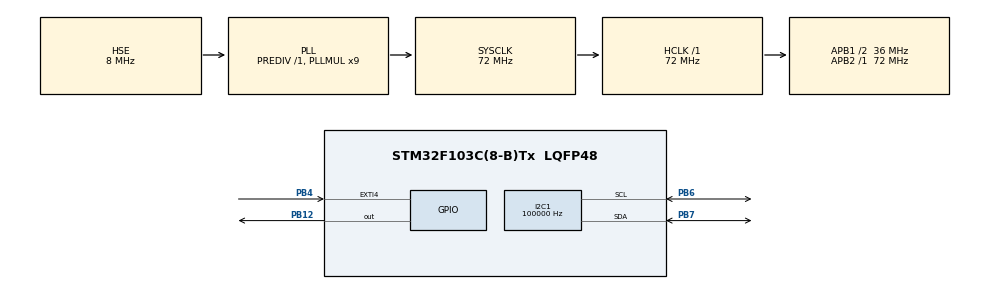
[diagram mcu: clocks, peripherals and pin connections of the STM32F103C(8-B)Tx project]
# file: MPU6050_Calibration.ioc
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Dma.I2C1_RX.0.Direction=DMA_PERIPH_TO_MEMORY
Dma.I2C1_RX.0.Instance=DMA1_Channel7
Dma.I2C1_RX.0.MemDataAlignment=DMA_MDATAALIGN_BYTE
Dma.I2C1_RX.0.MemInc=DMA_MINC_ENABLE
Dma.I2C1_RX.0.Mode=DMA_NORMAL
Dma.I2C1_RX.0.PeriphDataAlignment=DMA_PDATAALIGN_BYTE
Dma.I2C1_RX.0.PeriphInc=DMA_PINC_DISABLE
Dma.I2C1_RX.0.Priority=DMA_PRIORITY_LOW
Dma.I2C1_TX.1.Direction=DMA_MEMORY_TO_PERIPH
Dma.I2C1_TX.1.Instance=DMA1_Channel6
Dma.I2C1_TX.1.MemDataAlignment=DMA_MDATAALIGN_BYTE
Dma.I2C1_TX.1.MemInc=DMA_MINC_ENABLE
Dma.I2C1_TX.1.Mode=DMA_NORMAL
Dma.I2C1_TX.1.PeriphDataAlignment=DMA_PDATAALIGN_BYTE
Dma.I2C1_TX.1.PeriphInc=DMA_PINC_DISABLE
Dma.I2C1_TX.1.Priority=DMA_PRIORITY_LOW
Dma.Request0=I2C1_RX
Dma.Request1=I2C1_TX
I2C1.ClockSpeed=100000
I2C1.I2C_Mode=I2C_Standard
Mcu.Family=STM32F1
Mcu.Name=STM32F103C(8-B)Tx
Mcu.Package=LQFP48
NVIC.DMA1_Channel6_IRQn=true\:0\:0\:false\:false\:true\:false\:true\:true
NVIC.DMA1_Channel7_IRQn=true\:0\:0\:false\:false\:true\:false\:true\:true
NVIC.EXTI4_IRQn=true\:0\:0\:false\:false\:true\:true\:true\:true
NVIC.I2C1_ER_IRQn=true\:0\:0\:false\:false\:true\:true\:true\:true
NVIC.I2C1_EV_IRQn=true\:0\:0\:false\:false\:true\:true\:true\:true
NVIC.PVD_IRQn=true\:5\:0\:true\:false\:true\:true\:true\:true
NVIC.PriorityGroup=NVIC_PRIORITYGROUP_4
NVIC.TIM4_IRQn=true\:15\:0\:false\:false\:true\:false\:true\:true
NVIC.TimeBase=TIM4_IRQn
NVIC.TimeBaseIP=TIM4
PA13.Mode=Serial_Wire
PA13.Signal=SYS_JTMS-SWDIO
PA14.Mode=Serial_Wire
PA14.Signal=SYS_JTCK-SWCLK
PB12.GPIO_Speed=GPIO_SPEED_FREQ_HIGH
PB12.Signal=GPIO_Output
PB4.Signal=GPXTI4
PB6.Mode=I2C
PB6.Signal=I2C1_SCL
PB7.Mode=I2C
PB7.Signal=I2C1_SDA
PD0-OSC_IN.Mode=HSE-External-Oscillator
PD0-OSC_IN.Signal=RCC_OSC_IN
PD1-OSC_OUT.Mode=HSE-External-Oscillator
PD1-OSC_OUT.Signal=RCC_OSC_OUT
ProjectManager.HeapSize=0x200
ProjectManager.StackSize=0x400
ProjectManager.TargetToolchain=STM32CubeIDE
RCC.AHBFreq_Value=72000000
RCC.APB1CLKDivider=RCC_HCLK_DIV2
RCC.APB1Freq_Value=36000000
RCC.APB1TimFreq_Value=72000000
RCC.APB2Freq_Value=72000000
RCC.APB2TimFreq_Value=72000000
RCC.HCLKFreq_Value=72000000
RCC.PLLMUL=RCC_PLL_MUL9
RCC.PLLSourceVirtual=RCC_PLLSOURCE_HSE
RCC.SYSCLKFreq_VALUE=72000000
RCC.SYSCLKSource=RCC_SYSCLKSOURCE_PLLCLK
RCC.USBFreq_Value=72000000
VP_SYS_VS_tim4.Mode=TIM4
board=custom

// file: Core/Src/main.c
/* USER CODE BEGIN Header */
/**
  ******************************************************************************
  * @file           : main.c
  * @brief          : Main program body
  ******************************************************************************
  * @attention
  *
  * Copyright (c) 2024 STMicroelectronics.
  * All rights reserved.
  *
  * This software is licensed under terms that can be found in the LICENSE file
  * in the root directory of this software component.
  * If no LICENSE file comes with this software, it is provided AS-IS.
  *
  ******************************************************************************
  */
/* USER CODE END Header */
#include "main.h"

/* USER CODE BEGIN Includes */
#include "mpu6050.h"
/* USER CODE END Includes */

I2C_HandleTypeDef hi2c1;
DMA_HandleTypeDef hdma_i2c1_rx;
DMA_HandleTypeDef hdma_i2c1_tx;

/* USER CODE BEGIN PV */
uint8_t accel_data[6];  // Buffer to hold acceleration data
float accel_x_m_s2, accel_y_m_s2, accel_z_m_s2;
/* USER CODE END PV */

void SystemClock_Config(void);
static void MX_GPIO_Init(void);
static void MX_DMA_Init(void);
static void MX_I2C1_Init(void);
/* USER CODE BEGIN PFP */
void MPU6050_Init(void);
/* USER CODE END PFP */

int main(void)
{

  /* MCU Configuration--------------------------------------------------------*/

  /* Reset of all peripherals, Initializes the Flash interface and the Systick. */
  HAL_Init();

  /* Configure the system clock */
  SystemClock_Config();

  /* Initialize all configured peripherals */
  MX_GPIO_Init();
  MX_DMA_Init();
  MX_I2C1_Init();
  /* USER CODE BEGIN 2 */
  MPU6050_Init();
  /* USER CODE END 2 */

  /* Infinite loop */
  while (1)
  {

    /* USER CODE BEGIN 3 */
	  HAL_GPIO_TogglePin(GPIOB, GPIO_PIN_12);
	  HAL_Delay(1);
  }
  /* USER CODE END 3 */
}

void SystemClock_Config(void)
{
  RCC_OscInitTypeDef RCC_OscInitStruct = {0};
  RCC_ClkInitTypeDef RCC_ClkInitStruct = {0};

  /** Initializes the RCC Oscillators according to the specified parameters
  * in the RCC_OscInitTypeDef structure.
  */
  RCC_OscInitStruct.OscillatorType = RCC_OSCILLATORTYPE_HSE;
  RCC_OscInitStruct.HSEState = RCC_HSE_ON;
  RCC_OscInitStruct.HSEPredivValue = RCC_HSE_PREDIV_DIV1;
  RCC_OscInitStruct.HSIState = RCC_HSI_ON;
  RCC_OscInitStruct.PLL.PLLState = RCC_PLL_ON;
  RCC_OscInitStruct.PLL.PLLSource = RCC_PLLSOURCE_HSE;
  RCC_OscInitStruct.PLL.PLLMUL = RCC_PLL_MUL9;
  if (HAL_RCC_OscConfig(&RCC_OscInitStruct) != HAL_OK)
  {
    Error_Handler();
  }

  /** Initializes the CPU, AHB and APB buses clocks
  */
  RCC_ClkInitStruct.ClockType = RCC_CLOCKTYPE_HCLK|RCC_CLOCKTYPE_SYSCLK
                              |RCC_CLOCKTYPE_PCLK1|RCC_CLOCKTYPE_PCLK2;
  RCC_ClkInitStruct.SYSCLKSource = RCC_SYSCLKSOURCE_PLLCLK;
  RCC_ClkInitStruct.AHBCLKDivider = RCC_SYSCLK_DIV1;
  RCC_ClkInitStruct.APB1CLKDivider = RCC_HCLK_DIV2;
  RCC_ClkInitStruct.APB2CLKDivider = RCC_HCLK_DIV1;

  if (HAL_RCC_ClockConfig(&RCC_ClkInitStruct, FLASH_LATENCY_2) != HAL_OK)
  {
    Error_Handler();
  }
}

static void MX_I2C1_Init(void)
{

  hi2c1.Instance = I2C1;
  hi2c1.Init.ClockSpeed = 100000;
  hi2c1.Init.DutyCycle = I2C_DUTYCYCLE_2;
  hi2c1.Init.OwnAddress1 = 0;
  hi2c1.Init.AddressingMode = I2C_ADDRESSINGMODE_7BIT;
  hi2c1.Init.DualAddressMode = I2C_DUALADDRESS_DISABLE;
  hi2c1.Init.OwnAddress2 = 0;
  hi2c1.Init.GeneralCallMode = I2C_GENERALCALL_DISABLE;
  hi2c1.Init.NoStretchMode = I2C_NOSTRETCH_DISABLE;
  if (HAL_I2C_Init(&hi2c1) != HAL_OK)
  {
    Error_Handler();
  }

}

static void MX_DMA_Init(void)
{

  /* DMA controller clock enable */
  __HAL_RCC_DMA1_CLK_ENABLE();

  /* DMA interrupt init */
  /* DMA1_Channel6_IRQn interrupt configuration */
  HAL_NVIC_SetPriority(DMA1_Channel6_IRQn, 0, 0);
  HAL_NVIC_EnableIRQ(DMA1_Channel6_IRQn);
  /* DMA1_Channel7_IRQn interrupt configuration */
  HAL_NVIC_SetPriority(DMA1_Channel7_IRQn, 0, 0);
  HAL_NVIC_EnableIRQ(DMA1_Channel7_IRQn);

}

static void MX_GPIO_Init(void)
{
  GPIO_InitTypeDef GPIO_InitStruct = {0};

  /* GPIO Ports Clock Enable */
  __HAL_RCC_GPIOD_CLK_ENABLE();
  __HAL_RCC_GPIOB_CLK_ENABLE();
  __HAL_RCC_GPIOA_CLK_ENABLE();

  /*Configure GPIO pin Output Level */
  HAL_GPIO_WritePin(GPIOB, GPIO_PIN_12, GPIO_PIN_RESET);

  /*Configure GPIO pin : PB12 */
  GPIO_InitStruct.Pin = GPIO_PIN_12;
  GPIO_InitStruct.Mode = GPIO_MODE_OUTPUT_PP;
  GPIO_InitStruct.Pull = GPIO_NOPULL;
  GPIO_InitStruct.Speed = GPIO_SPEED_FREQ_HIGH;
  HAL_GPIO_Init(GPIOB, &GPIO_InitStruct);

  /*Configure GPIO pin : PB4 */
  GPIO_InitStruct.Pin = GPIO_PIN_4;
  GPIO_InitStruct.Mode = GPIO_MODE_IT_RISING;
  GPIO_InitStruct.Pull = GPIO_NOPULL;
  HAL_GPIO_Init(GPIOB, &GPIO_InitStruct);

  /* EXTI interrupt init*/
  HAL_NVIC_SetPriority(EXTI4_IRQn, 0, 0);
  HAL_NVIC_EnableIRQ(EXTI4_IRQn);

}

/* USER CODE BEGIN 4 */
void MPU6050_Init(void)
{
	 uint8_t chipid = 0;
	 uint8_t tmp = 0x00;

	 // Check device ID WHO_AM_I
	 HAL_I2C_Mem_Read(&hi2c1, MPU6050_I2C_ADDRESS<<1, MPU6050_RA_WHO_AM_I, I2C_MEMADD_SIZE_8BIT, &chipid, 1, I2C_TIMEOUT);
	 HAL_Delay(1);
	 if (chipid == 0x68)  // 0x68 is the MPU6050 device ID
	 {
	 // Power management register 0X6B we should write all 0's to wake the sensor up
		 tmp = 0x00;
	 HAL_I2C_Mem_Write(&hi2c1,(MPU6050_I2C_ADDRESS << 1) ,MPU6050_RA_PWR_MGMT_1 , I2C_MEMADD_SIZE_8BIT, &tmp, 1, I2C_TIMEOUT);

	 // Set DATA RATE of 1KHz by writing SMPLRT_DIV register
	 tmp = 0x07;
	 HAL_I2C_Mem_Write(&hi2c1, MPU6050_I2C_ADDRESS <<1, MPU6050_RA_SMPLRT_DIV, I2C_MEMADD_SIZE_8BIT, &tmp, 1, 1000);

	 // Set accelerometer configuration in ACCEL_CONFIG Register
	 // XA_ST=0,YA_ST=0,ZA_ST=0, FS_SEL=0 -> ± 2g
	 tmp = 0x00;
	 HAL_I2C_Mem_Write(&hi2c1, MPU6050_I2C_ADDRESS<<1, MPU6050_RA_ACCEL_CONFIG, I2C_MEMADD_SIZE_8BIT, &tmp, 1, 1000);
	 HAL_Delay(1);
	 //read MPU6050_PWR_MGMT_2 register
	 HAL_I2C_Mem_Read(&hi2c1, (MPU6050_I2C_ADDRESS << 1), MPU6050_RA_PWR_MGMT_2,I2C_MEMADD_SIZE_8BIT, &tmp, 1, I2C_TIMEOUT);
	 HAL_Delay(1);
	 //enable acc/gyro xyz
	 tmp &= ~(0x38 | 0x07);
	 HAL_I2C_Mem_Write(&hi2c1, (MPU6050_I2C_ADDRESS << 1), MPU6050_RA_PWR_MGMT_2, I2C_MEMADD_SIZE_8BIT, &tmp, 1, I2C_TIMEOUT);

	 //gyro 2000dps
	 tmp = ( 0x03 << 3 );
	 HAL_I2C_Mem_Write(&hi2c1, (MPU6050_I2C_ADDRESS << 1) ,MPU6050_RA_GYRO_CONFIG,I2C_MEMADD_SIZE_8BIT, &tmp, 1, I2C_TIMEOUT);

	 // Configure INT pin and enable Data Ready interrupt
	 tmp = 0x01;  // Enable Data Ready interrupt
	 HAL_I2C_Mem_Write(&hi2c1, MPU6050_I2C_ADDRESS <<1, MPU6050_RA_INT_ENABLE, I2C_MEMADD_SIZE_8BIT, &tmp, 1, 1000);

	  // Set interrupt pin configuration (active high, push-pull)
	  tmp = 0x00;
	  HAL_I2C_Mem_Write(&hi2c1, MPU6050_I2C_ADDRESS <<1, MPU6050_RA_INT_PIN_CFG, I2C_MEMADD_SIZE_8BIT, &tmp, 1, 1000);
	 }

}

void HAL_GPIO_EXTI_Callback(uint16_t GPIO_Pin) {
    if (GPIO_Pin == GPIO_PIN_4) {
        // MPU6050 interrupt triggered, initiate DMA read of acceleration data
        uint8_t reg_addr = MPU6050_RA_ACCEL_XOUT_H;
        HAL_I2C_Mem_Read_DMA(&hi2c1, MPU6050_I2C_ADDRESS<<1, reg_addr, I2C_MEMADD_SIZE_8BIT, accel_data, 6);
    }
}

/* USER CODE END 4 */

void HAL_TIM_PeriodElapsedCallback(TIM_HandleTypeDef *htim)
{
  if (htim->Instance == TIM4) {
    HAL_IncTick();
  }
}

void Error_Handler(void)
{
  __disable_irq();
  while (1)
  {
  }
}
